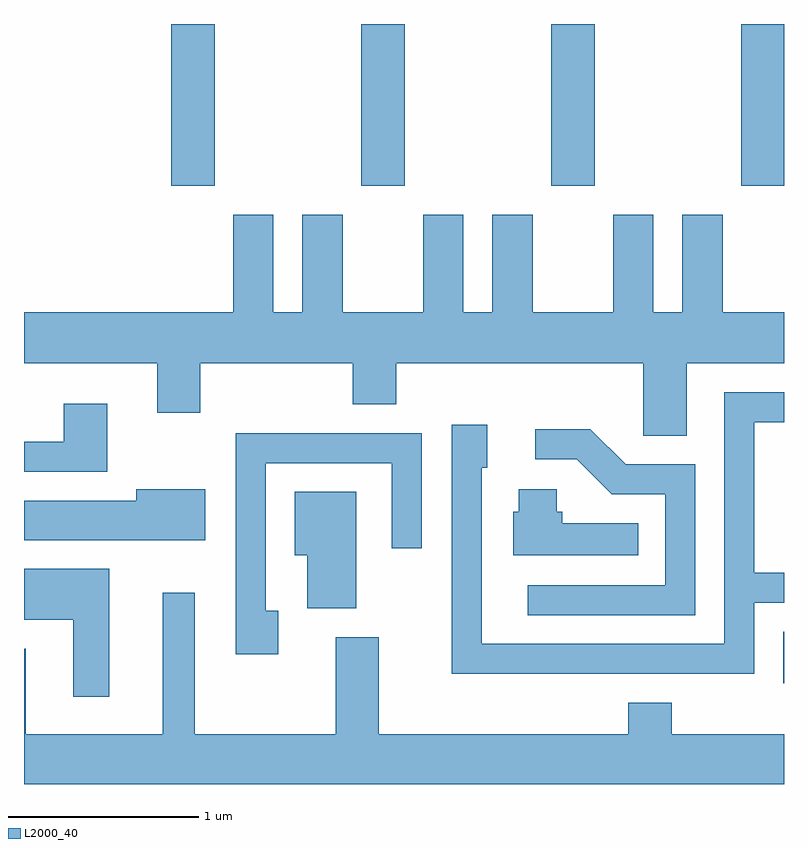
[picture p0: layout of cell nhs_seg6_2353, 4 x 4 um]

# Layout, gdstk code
import gdstk
lib = gdstk.Library(unit=1e-6, precision=1e-09)
def R(c, l, rs):  # rectangles x0, y0, x1, y1
    for r in rs: c.add(gdstk.rectangle(r[:2], r[2:], *l))
def A(c, l, x, y, w, h, nx, ny, dx, dy):  # array of equal rectangles
    R(c, l, [(x+i*dx, y+j*dy, x+i*dx+w, y+j*dy+h) for i in range(nx) for j in range(ny)])
def P(c, l, *ps):  # polygons
    for p in ps: c.add(gdstk.Polygon(p, *l))
L2000_40 = (2000, 40)

nhs_seg6_2353 = lib.new_cell('nhs_seg6_2353')
A(nhs_seg6_2353, L2000_40, 256.386, 1655.311, 0.228, 0.851, 3, 1, 1, 0)
R(nhs_seg6_2353, L2000_40, [(259.606,1652.693,259.611,1652.964), (259.386,1655.311,259.611,1656.162)])
P(nhs_seg6_2353, L2000_40, [(259.099,1654.376),(259.611,1654.376),(259.611,1654.644),(259.289,1654.644),(259.289,1655.159),(259.076,1655.159),(259.076,1654.644),(258.924,1654.644),(258.924,1655.159),(258.711,1655.159),(258.711,1654.644),(258.289,1654.644),(258.289,1655.159),(258.076,1655.159),(258.076,1654.644),(257.924,1654.644),(257.924,1655.159),(257.711,1655.159),(257.711,1654.644),(257.289,1654.644),(257.289,1655.159),(257.076,1655.159),(257.076,1654.644),(256.924,1654.644),(256.924,1655.159),(256.711,1655.159),(256.711,1654.644),(255.611,1654.644),(255.611,1654.376),(256.311,1654.376),(256.311,1654.116),(256.539,1654.116),(256.539,1654.376),(257.341,1654.376),(257.341,1654.161),(257.569,1654.161),(257.569,1654.376),(258.871,1654.376),(258.871,1653.996),(259.099,1653.996)],
  [(259.454,1653.116),(259.611,1653.116),(259.611,1653.274),(259.454,1653.274),(259.454,1654.066),(259.611,1654.066),(259.611,1654.224),(259.296,1654.224),(259.296,1652.899),(258.019,1652.899),(258.019,1653.826),(258.049,1653.826),(258.049,1654.054),(257.861,1654.054),(257.861,1652.741),(259.454,1652.741)],
  [(256.049,1654.164),(255.821,1654.164),(255.821,1653.964),(255.611,1653.964),(255.611,1653.806),(256.049,1653.806)],
  [(259.144,1653.844),(258.777,1653.844),(258.592,1654.029),(258.303,1654.029),(258.303,1653.871),(258.519,1653.871),(258.704,1653.686),(258.986,1653.686),(258.986,1653.209),(258.263,1653.209),(258.263,1653.051),(259.144,1653.051)],
  [(256.949,1653.074),(256.884,1653.074),(256.884,1653.851),(257.546,1653.851),(257.546,1653.403),(257.704,1653.403),(257.704,1654.009),(256.726,1654.009),(256.726,1652.846),(256.949,1652.846)],
  [(258.843,1653.534),(258.444,1653.534),(258.444,1653.594),(258.414,1653.594),(258.414,1653.714),(258.216,1653.714),(258.216,1653.594),(258.186,1653.594),(258.186,1653.366),(258.843,1653.366)],
  [(256.564,1653.714),(256.201,1653.714),(256.201,1653.654),(255.611,1653.654),(255.611,1653.446),(256.564,1653.446)],
  [(257.359,1653.699),(257.036,1653.699),(257.036,1653.366),(257.101,1653.366),(257.101,1653.086),(257.359,1653.086)],
  [(256.059,1653.294),(255.611,1653.294),(255.611,1653.026),(255.871,1653.026),(255.871,1652.621),(256.059,1652.621)],
  [(259.611,1652.424),(259.019,1652.424),(259.019,1652.589),(258.791,1652.589),(258.791,1652.424),(257.479,1652.424),(257.479,1652.934),(257.251,1652.934),(257.251,1652.424),(256.509,1652.424),(256.509,1653.168),(256.341,1653.168),(256.341,1652.424),(255.619,1652.424),(255.619,1652.874),(255.611,1652.874),(255.611,1652.162),(259.611,1652.162)])

lib.write_gds('nhs_seg6_2353.gds')
